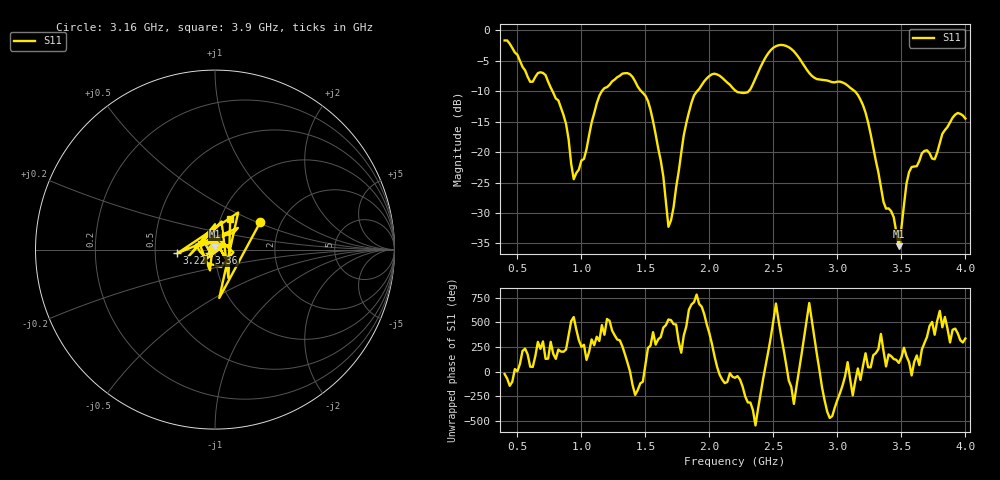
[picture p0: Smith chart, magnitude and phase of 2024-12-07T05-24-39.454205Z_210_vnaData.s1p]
!Created with skrf (http://scikit-rf.org).
# Hz S RI R 50.0
!freq ReS11 ImS11
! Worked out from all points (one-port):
!   181 points, 400 MHz to 4 GHz, reference 50 ohm
!   lowest |S11| = -35.4 dB at 3.48 GHz (marker M1), VSWR 1.03, Z = 50 + j1.69 ohm
!   |S11| at or under -10 dB: 774.8 MHz to 1.159 GHz (384 MHz wide, 39.7 % of centre); 1.469 GHz to 1.903 GHz (434.4 MHz wide, 25.8 % of centre); 3.137 GHz to end of sweep (the widest 3 of 4)
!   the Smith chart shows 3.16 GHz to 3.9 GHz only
!   S11 on the Smith chart (normalised r, x): 3.16 GHz: 1.57, +0.53; 3.22 GHz: 0.65, -0.03; 3.36 GHz: 0.93, -0.04; 3.9 GHz: 1.11, +0.40
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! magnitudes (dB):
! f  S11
! 400 MHz  -1.6
! 600 MHz  -8.4
! 720 MHz  -7.3
! 860 MHz  -13.9
! 940 MHz  -24.4
! 1.14 GHz  -10.7
! 1.3 GHz  -7.4
! 1.52 GHz  -11.6
! 1.62 GHz  -21.4
! 1.68 GHz  -32.3
! 1.76 GHz  -23.2
! 1.88 GHz  -10.7
! 2.04 GHz  -7.1
! 2.2 GHz  -9.8
! 2.3 GHz  -10.1
! 2.5 GHz  -2.8
! 2.66 GHz  -3.4
! 3.1 GHz  -9.4
! 3.16 GHz  -10.6
! 3.22 GHz  -13.5
! 3.36 GHz  -28.1
! 3.44 GHz  -30.7
! 3.48 GHz  -35.4
! 3.56 GHz  -23.3
! 3.68 GHz  -19.8
! 3.76 GHz  -21.2
! 3.9 GHz  -14.3
! 4 GHz  -14.5
